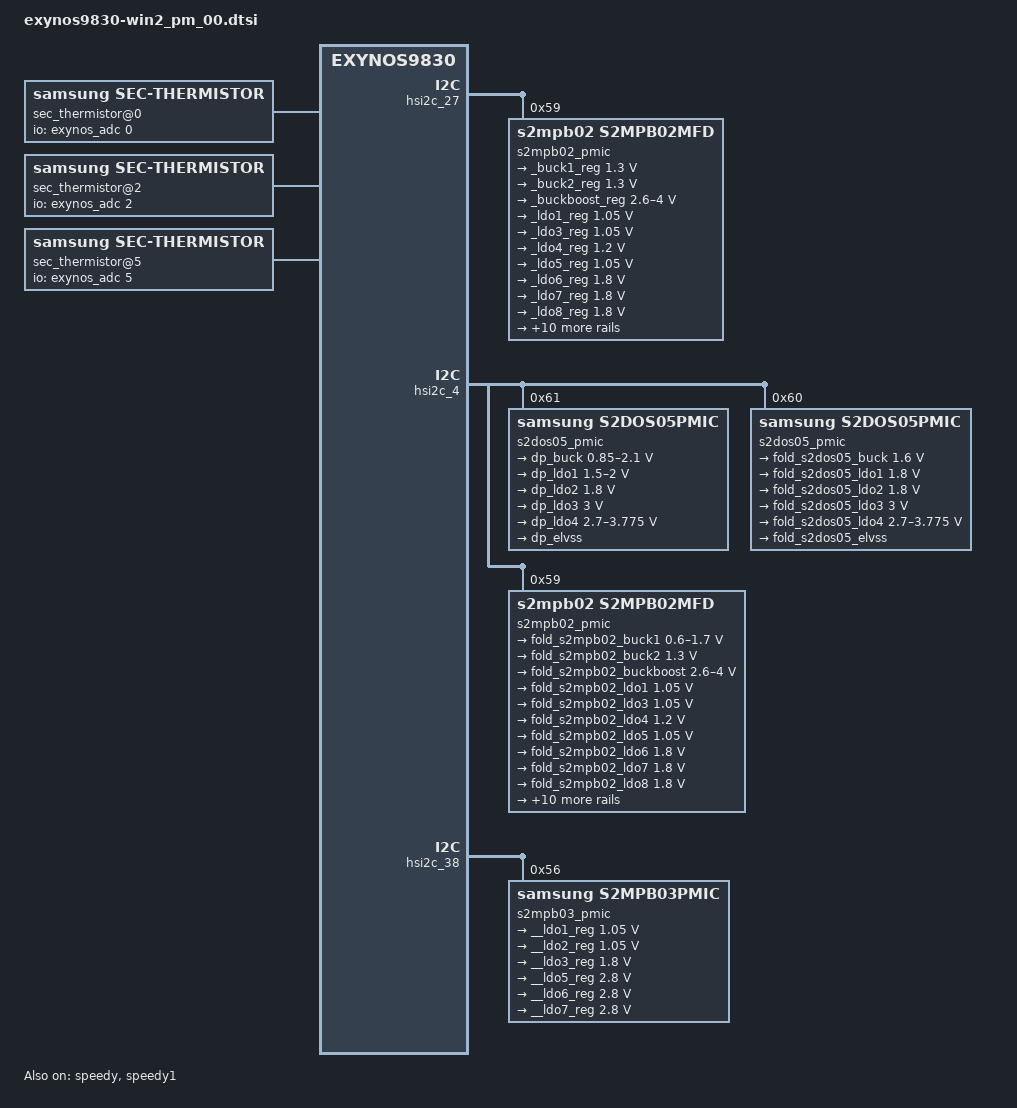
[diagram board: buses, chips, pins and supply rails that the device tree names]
/*
 * SAMSUNG EXYNOS9830 power management device tree source
 *
 * Copyright (c) 2019 Samsung Electronics Co., Ltd.
 *		http://www.samsung.com
 *
 * This program is free software; you can redistribute it and/or modify
 * it under the terms of the GNU General Public License version 2 as
 * published by the Free Software Foundation.
*/

&pinctrl_0 {
	m_pmic_irq: m-pmic-irq {
		samsung,pins = "gpa0-1";
		samsung,pin-pud = <3>;
		samsung,pin-drv = <3>;
	};

	s_pmic_irq: s-pmic-irq {
		samsung,pins = "gpa2-5";
		samsung,pin-pud = <3>;
		samsung,pin-drv = <3>;
	};

	dp_pmic_irq: dp-pmic-irq {
		samsung,pins = "gpa1-4";
		samsung,pin-function = <0>;
		samsung,pin-pud = <0>;
		samsung,pin-drv = <0>;
	};
};

&pinctrl_1 {
	fold_sub_dp_pm_int: fold-sub-dp-pm-int {
		samsung,pins = "gpm16-0";
		samsung,pin-function = <0>;
		samsung,pin-pud = <0>;
		samsung,pin-drv = <0>;
	};
};

&pinctrl_5 {
	sub_pmic_irq: sub-pmic-irq {
		samsung,pins = "gpg1-2";
		samsung,pin-function = <0>;
		samsung,pin-pud = <0>;
		samsung,pin-con-pdn = <2>;
		samsung,pin-pud-pdn = <0>;
	};
};

&pinctrl_4 {
	smpl_warn: smpl-warn {
		samsung,pins = "gpg0-1";
		samsung,pin-function = <15>;
		samsung,pin-pud = <0>;
		samsung,pin-drv = <0>;
		samsung,pin-con-pdn = <2>;
		samsung,pin-pud-pdn = <0>;
	};
};

&speedy {
	#address-cells = <1>;
	#size-cells = <0>;
	status = "okay";
	s2mps19mfd@00 {
		compatible = "samsung,s2mps19mfd";
		acpm-ipc-channel = <2>;
		acpm-speedy-channel = <0>;
		i2c-speedy-address;
		s2mps19,wakeup = "enabled";
		s2mps19,irq-gpio = <&gpa0 1 0>;
		reg = <0x00>;
		interrupts = <1 0 0>;
		interrupt-parent = <&gpa0>;
		pinctrl-names = "default";
		pinctrl-0 = <&m_pmic_irq &smpl_warn>;
		gpios = <&gpg0 1 0>;
		smpl_warn_en = <1>; /* 1 : enable , 0 : disable */
		/* range of smpl_warn_vth */
		/* 0x00 : 2.1V, 0x20 : 2.3V, 0x40 : 2.5V, 0x60 : 2.7V 0x80 : 2.9V */
		/* 0xA0 : 3.1V, 0xC0 : 3.3V, 0xE0 : 3.5V */
		smpl_warn_vth = <0xA0>;
		/* LowBat_Hys[4:3] 00(100mV), 01(200mV), 10(300mV), 11(400mV) */
		smpl_warn_hys = <0x00>;
		ocp_warn1_en = <1>; /* 1 : enable, 0 : disable */
		ocp_warn1_cnt = <0>; /* ocp warn reset timing control, 0 : 2 clock, 1 : 32 clock */
		ocp_warn1_dvs_mask = <0>; /* ocp warn mask when dvs, 0 : not masked, 1 : masked  */
		ocp_warn1_lv = <0x0>; /* step : -250mA */
		ocp_warn2_en = <0>; /* 1 : enable, 0 : disable */
		ocp_warn2_cnt = <0>; /* ocp warn reset timing control, 0 : 2 clock, 1 : 32 clock */
		ocp_warn2_dvs_mask = <0>; /* ocp warn mask when dvs, 0 : not masked, 1 : masked  */
		ocp_warn2_lv = <0x0>; /* step : -250mA */
		adc_mode = <1>; /* 0 : disable, 1 : current meter, 2 : power meter */
		adc_sync_mode = <2>; /* 1 : sync mode, 2 : async mode */
		/* RTC: wtsr/smpl */
		wtsr_en = "enabled"; /* enable */
		smpl_en = "enabled"; /* enable */
		wtsr_timer_val = <3>;	/* 1000ms */
		smpl_timer_val = <2>;	/* 300ms */
		sub_smpl_en = "enabled"; /* enable */
		check_jigon = <0>; /* do not check jigon */
		/* RTC: If it's first boot, reset rtc to 1/1/2020 12:00:00(Wed) */
		init_time,sec = <0>;
		init_time,min = <0>;
		init_time,hour = <12>;
		init_time,mday = <1>;
		init_time,mon = <0>;
		init_time,year = <120>;
		init_time,wday = <3>;

		regulators {
			buck1_reg: BUCK1M {
				regulator-name = "m_vdd_buck1";
				regulator-min-microvolt = <450000>;
				regulator-max-microvolt = <1100000>;
				regulator-always-on;
				regulator-ramp-delay = <6000>;
				regulator-initial-mode = <2>;
			};

			buck2_reg: BUCK2M {
				regulator-name = "m_vdd_buck2";
				regulator-min-microvolt = <450000>;
				regulator-max-microvolt = <1300000>;
				regulator-always-on;
				regulator-ramp-delay = <6000>;
				regulator-initial-mode = <2>;
			};

			buck3_reg: BUCK3M {
				regulator-name = "m_vdd_buck3";
				regulator-min-microvolt = <450000>;
				regulator-max-microvolt = <1300000>;
				regulator-always-on;
				regulator-ramp-delay = <6000>;
				regulator-initial-mode = <2>;
			};

			buck5_reg: BUCK5M {
				regulator-name = "m_vdd_buck5";
				regulator-min-microvolt = <450000>;
				regulator-max-microvolt = <1100000>;
				regulator-always-on;
				regulator-ramp-delay = <6000>;
				regulator-initial-mode = <2>;
			};

			buck6_reg: BUCK6M {
				regulator-name = "m_vdd_buck6";
				regulator-min-microvolt = <450000>;
				regulator-max-microvolt = <1100000>;
				regulator-always-on;
				regulator-ramp-delay = <6000>;
				regulator-initial-mode = <1>;
			};

			buck7_reg: BUCK7M {
				regulator-name = "m_vdd_buck7";
				regulator-min-microvolt = <450000>;
				regulator-max-microvolt = <1300000>;
				regulator-always-on;
				regulator-ramp-delay = <6000>;
				regulator-initial-mode = <2>;
			};

			buck8_reg: BUCK8M {
				regulator-name = "m_vdd_buck8";
				regulator-min-microvolt = <450000>;
				regulator-max-microvolt = <950000>;
				regulator-always-on;
				regulator-ramp-delay = <6000>;
				regulator-initial-mode = <2>;
			};

			buck9_reg: BUCK9M {
				regulator-name = "m_vdd_buck9";
				regulator-min-microvolt = <800000>;
				regulator-max-microvolt = <1300000>;
				regulator-always-on;
				regulator-ramp-delay = <6000>;
				regulator-initial-mode = <3>;
			};

			buck10_reg: BUCK10M {
				regulator-name = "m_vdd_buck10";
				regulator-min-microvolt = <800000>;
				regulator-max-microvolt = <1300000>;
				regulator-always-on;
				regulator-ramp-delay = <6000>;
				regulator-initial-mode = <3>;
			};

			buck11_reg: BUCK11M {
				regulator-name = "m_vdd_buck11";
				regulator-min-microvolt = <1100000>;
				regulator-max-microvolt = <1500000>;
				regulator-always-on;
				regulator-ramp-delay = <6000>;
				regulator-initial-mode = <3>;
			};

			buck12_reg: BUCK12M {
				regulator-name = "m_vdd_buck12";
				regulator-min-microvolt = <1750000>;
				regulator-max-microvolt = <2150000>;
				regulator-always-on;
				regulator-ramp-delay = <6000>;
				regulator-initial-mode = <3>;
			};

			ldo1_reg: LDO1M {
				regulator-name = "m_vdd_ldo1";
				regulator-min-microvolt = <700000>;
				regulator-max-microvolt = <950000>;
				regulator-always-on;
				regulator-ramp-delay = <12000>;
				regulator-initial-mode = <3>;
			};

			ldo2_reg: LDO2M {
				regulator-name = "vqmmc";
				regulator-min-microvolt = <1800000>;
				regulator-max-microvolt = <2950000>;
				regulator-ramp-delay = <12000>;
				regulator-initial-mode = <0>;
			};

			ldo3_reg: LDO3M {
				regulator-name = "m_vdd_ldo3";
				regulator-min-microvolt = <700000>;
				regulator-max-microvolt = <1100000>;
				regulator-always-on;
				regulator-ramp-delay = <12000>;
				regulator-initial-mode = <1>;
			};

			ldo4_reg: LDO4M {
				regulator-name = "m_vdd_ldo4";
				regulator-min-microvolt = <1600000>;
				regulator-max-microvolt = <1950000>;
				regulator-always-on;
				regulator-ramp-delay = <12000>;
				regulator-initial-mode = <1>;
			};

			ldo5_reg: LDO5M {
				regulator-name = "m_vdd_ldo5";
				regulator-min-microvolt = <450000>;
				regulator-max-microvolt = <1100000>;
				regulator-always-on;
				regulator-ramp-delay = <12000>;
				regulator-initial-mode = <1>;
			};

			ldo6_reg: LDO6M {
				regulator-name = "m_vdd_ldo6";
				regulator-min-microvolt = <450000>;
				regulator-max-microvolt = <950000>;
				regulator-always-on;
				regulator-ramp-delay = <12000>;
				regulator-initial-mode = <1>;
			};

			ldo9_reg: LDO9M {
				regulator-name = "m_vdd_ldo9";
				regulator-min-microvolt = <700000>;
				regulator-max-microvolt = <1300000>;
				regulator-always-on;
				regulator-ramp-delay = <12000>;
				regulator-initial-mode = <1>;
			};

			ldo10_reg: LDO10M {
				regulator-name = "m_vdd_ldo10";
				regulator-min-microvolt = <700000>;
				regulator-max-microvolt = <1100000>;
				regulator-boot-on;
				regulator-ramp-delay = <12000>;
				regulator-initial-mode = <3>;
			};

			ldo11_reg: LDO11M {
				regulator-name = "m_vdd_ldo11";
				regulator-min-microvolt = <1600000>;
				regulator-max-microvolt = <1950000>;
				regulator-boot-on;
				regulator-ramp-delay = <12000>;
				regulator-initial-mode = <3>;
			};

			ldo12_reg: LDO12M {
				regulator-name = "m_vdd_ldo12";
				regulator-min-microvolt = <1700000>;
				regulator-max-microvolt = <3350000>;
				regulator-boot-on;
				regulator-ramp-delay = <12000>;
				regulator-initial-mode = <3>;
			};

			ldo13_reg: LDO13M {
				regulator-name = "m_vdd_ldo13";
				regulator-min-microvolt = <1800000>;
				regulator-max-microvolt = <3350000>;
				regulator-boot-on;
				regulator-ramp-delay = <12000>;
				regulator-initial-mode = <1>;
			};

			ldo14_reg: LDO14M {
				regulator-name = "m_vdd_ldo14";
				regulator-min-microvolt = <1800000>;
				regulator-max-microvolt = <3350000>;
				regulator-boot-on;
				regulator-ramp-delay = <12000>;
				regulator-initial-mode = <1>;
			};

			ldo15_reg: LDO15M {
				regulator-name = "vmmc";
				regulator-min-microvolt = <2950000>;
				regulator-max-microvolt = <2950000>;
				regulator-ramp-delay = <12000>;
				regulator-initial-mode = <0>;
			};

			ldo16_reg: LDO16M {
				regulator-name = "m_vdd_ldo16";
				regulator-min-microvolt = <2500000>;
				regulator-max-microvolt = <3300000>;
				regulator-always-on;
				regulator-ramp-delay = <12000>;
				regulator-initial-mode = <3>;
			};

			ldo18_reg: LDO18M {
				regulator-name = "m_vdd_ldo18";
				regulator-min-microvolt = <700000>;
				regulator-max-microvolt = <1300000>;
				regulator-always-on;
				regulator-ramp-delay = <12000>;
				regulator-initial-mode = <3>;
			};

			ldo19_reg: LDO19M {
				regulator-name = "VDD_BTP_1P8";
				regulator-min-microvolt = <1800000>;
				regulator-max-microvolt = <1800000>;
				regulator-ramp-delay = <12000>;
				regulator-initial-mode = <2>;
			};

			ldo21_reg: LDO21M {
				regulator-name = "vdd_mcu_1p8";
				regulator-min-microvolt = <1800000>;
				regulator-max-microvolt = <1800000>;
				regulator-always-on;
				regulator-ramp-delay = <12000>;
				regulator-initial-mode = <3>;
			};

			ldo22_reg: LDO22M {
				regulator-name = "VDD_NFC_1P8";
				regulator-min-microvolt = <1800000>;
				regulator-max-microvolt = <1800000>;
				regulator-ramp-delay = <12000>;
				regulator-initial-mode = <2>;
			};

			ldo24_reg: LDO24M {
				regulator-name = "VDD_GRIP_3P0";
				regulator-min-microvolt = <3000000>;
				regulator-max-microvolt = <3000000>;
				regulator-ramp-delay = <12000>;
				regulator-always-on;
				regulator-initial-mode = <3>;
				regulator-boot-on;
			};

			ldo25_reg: LDO25M {
				regulator-name = "VDD_FLICKER_1P8";
				regulator-min-microvolt = <1600000>;
				regulator-max-microvolt = <2200000>;
				regulator-ramp-delay = <12000>;
				regulator-initial-mode = <3>;
			};

			ldo26_reg: LDO26M {
				regulator-name = "m_vdd_ldo26";
				regulator-min-microvolt = <1800000>;
				regulator-max-microvolt = <2200000>;
				regulator-ramp-delay = <12000>;
				regulator-initial-mode = <3>;
			};

			ldo28_reg: LDO28M {
				regulator-name = "VDD_ESE_1P8";
				regulator-min-microvolt = <1800000>;
				regulator-max-microvolt = <1800000>;
				regulator-always-on;
				regulator-ramp-delay = <12000>;
				regulator-initial-mode = <3>;
			};
		};
	};
};

&speedy1 {
	#address-cells = <1>;
	#size-cells = <0>;
	status = "okay";
	s2mps22mfd@00 {
		compatible = "samsung,s2mps22mfd";
		acpm-ipc-channel = <2>;
		acpm-speedy-channel = <1>;
		i2c-speedy-address;
		s2mps22,wakeup = "enabled";
		s2mps22,irq-gpio = <&gpa2 5 0>;
		reg = <0x00>;
		interrupts = <1 0 0>;
		interrupt-parent = <&gpa2>;
		pinctrl-names = "default";
		pinctrl-0 = <&s_pmic_irq>;
		adc_mode = <1>; /* 0 : disable, 1 : current meter, 2 : power meter */
		adc_sync_mode = <2>; /* 1 : sync mode, 2 : async mode */
		wtsr_en = <1>; /* 0 : disable, 1 : enable */

		regulators {
			s_buck1_reg: BUCK1S {
				regulator-name = "s_vdd_buck1";
				regulator-min-microvolt = <450000>;
				regulator-max-microvolt = <950000>;
				regulator-always-on;
				regulator-ramp-delay = <6000>;
				regulator-initial-mode = <1>;
			};

			s_buck2_reg: BUCK2S {
				regulator-name = "s_vdd_buck2";
				regulator-min-microvolt = <450000>;
				regulator-max-microvolt = <1100000>;
				regulator-always-on;
				regulator-ramp-delay = <6000>;
				regulator-initial-mode = <1>;
			};

			s_buck3_reg: BUCK3S {
				regulator-name = "s_vdd_buck3";
				regulator-min-microvolt = <450000>;
				regulator-max-microvolt = <1300000>;
				regulator-always-on;
				regulator-ramp-delay = <6000>;
				regulator-initial-mode = <1>;
			};

			s_buck4_reg: BUCK4S {
				regulator-name = "s_vdd_buck4";
				regulator-min-microvolt = <900000>;
				regulator-max-microvolt = <1300000>;
				regulator-always-on;
				regulator-ramp-delay = <6000>;
				regulator-initial-mode = <3>;
			};

			s_ldo1_reg: LDO1S {
				regulator-name = "s_vdd_ldo1";
				regulator-min-microvolt = <450000>;
				regulator-max-microvolt = <950000>;
				regulator-always-on;
				regulator-ramp-delay = <12000>;
				regulator-initial-mode = <1>;
			};

			s_ldo2_reg: LDO2S {
				regulator-name = "s_vdd_ldo2";
				regulator-min-microvolt = <450000>;
				regulator-max-microvolt = <950000>;
				regulator-always-on;
				regulator-ramp-delay = <12000>;
				regulator-initial-mode = <1>;
			};

			s_ldo3_reg: LDO3S {
				regulator-name = "s_vdd_ldo3";
				regulator-min-microvolt = <450000>;
				regulator-max-microvolt = <1300000>;
				regulator-always-on;
				regulator-ramp-delay = <12000>;
				regulator-initial-mode = <1>;
			};

			s_ldo4_reg: LDO4S {
				regulator-name = "s_vdd_ldo4";
				regulator-min-microvolt = <1600000>;
				regulator-max-microvolt = <1950000>;
				regulator-always-on;
				regulator-ramp-delay = <12000>;
				regulator-initial-mode = <3>;
			};

			s_ldo5_reg: LDO5S {
				regulator-name = "s_vdd_ldo5";
				regulator-min-microvolt = <700000>;
				regulator-max-microvolt = <1100000>;
				regulator-ramp-delay = <12000>;
				regulator-initial-mode = <1>;
			};

			s_ldo6_reg: LDO6S {
				regulator-name = "s_vdd_ldo6";
				regulator-min-microvolt = <1600000>;
				regulator-max-microvolt = <1950000>;
				regulator-ramp-delay = <12000>;
				regulator-initial-mode = <1>;
			};
		};
	};
};

&hsi2c_27 {
	#address-cells = <1>;
	#size-cells = <0>;
	status = "okay";
	s2mpb02_pmic@59 {
		compatible = "s2mpb02,s2mpb02mfd";
		reg = <0x59>;

		s2mpb02,wakeup;
		pinctrl-names = "default";
		pinctrl-0 = <&sub_pmic_irq>;

		regulators {
			_buck1_reg: s2mpb02-buck1 {
				regulator-name = "S2MPB02_BUCK1";
				regulator-min-microvolt = <1300000>;
				regulator-max-microvolt = <1300000>;
				regulator-always-on;
				regulator-boot-on;
			};

			_buck2_reg: s2mpb02-buck2 {
				regulator-name = "S2MPB02_BUCK2";
				regulator-min-microvolt = <1300000>;
				regulator-max-microvolt = <1300000>;
				regulator-always-on;
				regulator-boot-on;
			};

			_buckboost_reg: s2mpb02-bb {
				regulator-name = "S2MPB02_BB";
				regulator-min-microvolt = <2600000>;
				regulator-max-microvolt = <4000000>;
				regulator-always-on;
				regulator-boot-on;
			};

			_ldo1_reg: s2mpb02-ldo1 {
				regulator-name = "VDDPHY_1.05V_CAM";
				regulator-min-microvolt = <1050000>;
				regulator-max-microvolt = <1050000>;
			};

			_ldo3_reg: s2mpb02-ldo3 {
				regulator-name = "VDDD_1.05V_WIDESUB";
				regulator-min-microvolt = <1050000>;
				regulator-max-microvolt = <1050000>;
			};

			_ldo4_reg: s2mpb02-ldo4 {
				regulator-name = "VDDD_1.2V_TOF";
				regulator-min-microvolt = <1200000>;
				regulator-max-microvolt = <1200000>;
			};

			_ldo5_reg: s2mpb02-ldo5 {
				regulator-name = "VDDD_1.05V_VT";
				regulator-min-microvolt = <1050000>;
				regulator-max-microvolt = <1050000>;
			};

			_ldo6_reg: s2mpb02-ldo6 {
				regulator-name = "VDDIO_1.8V_VT";
				regulator-min-microvolt = <1800000>;
				regulator-max-microvolt = <1800000>;
			};

			_ldo7_reg: s2mpb02-ldo7 {
				regulator-name = "VDDIO_1.8V_SUB";
				regulator-min-microvolt = <1800000>;
				regulator-max-microvolt = <1800000>;
			};

			_ldo8_reg: s2mpb02-ldo8 {
				regulator-name = "VDDIO_1.8V_WIDESUB";
				regulator-min-microvolt = <1800000>;
				regulator-max-microvolt = <1800000>;
			};

			_ldo9_reg: s2mpb02-ldo9 {
				regulator-name = "VDDIO_1.8V_TOF";
				regulator-min-microvolt = <1800000>;
				regulator-max-microvolt = <1800000>;
			};

			_ldo10_reg: s2mpb02-ldo10 {
				regulator-name = "VDDD_1.8V_OIS";
				regulator-min-microvolt = <1800000>;
				regulator-max-microvolt = <1800000>;
			};

			_ldo11_reg: s2mpb02-ldo11 {
				regulator-name = "VDDA_2.95V_VT";
				regulator-min-microvolt = <2950000>;
				regulator-max-microvolt = <2950000>;
			};

			_ldo12_reg: s2mpb02-ldo12 {
				regulator-name = "VDDA_2.8V_WIDESUB";
				regulator-min-microvolt = <2800000>;
				regulator-max-microvolt = <2800000>;
			};

			_ldo13_reg: s2mpb02-ldo13 {
				regulator-name = "VDDAF_2.8V_SUB";
				regulator-min-microvolt = <2800000>;
				regulator-max-microvolt = <2800000>;
			};

			_ldo14_reg: s2mpb02-ldo14 {
				regulator-name = "VDDAF_COMMON_CAM";
				regulator-min-microvolt = <3300000>;
				regulator-max-microvolt = <3300000>;
			};

			_ldo15_reg: s2mpb02-ldo15 {
				regulator-name = "VDDD_3.3V_TOF";
				regulator-min-microvolt = <3300000>;
				regulator-max-microvolt = <3300000>;
			};

			_ldo16_reg: s2mpb02-ldo16 {
				regulator-name = "VDDAF_2.8V_VT";
				regulator-min-microvolt = <2800000>;
				regulator-max-microvolt = <2800000>;
			};

			_ldo17_reg: s2mpb02-ldo17 {
				regulator-name = "VDDA_2.7V_TOF";
				regulator-min-microvolt = <2700000>;
				regulator-max-microvolt = <2700000>;
			};

			_ldo18_reg: s2mpb02-ldo18 {
				regulator-name = "S2MPB02_LDO18";
				regulator-min-microvolt = <3300000>;
				regulator-max-microvolt = <3300000>;
				regulator-always-on;
				regulator-boot-on;
			};
		};

		torch {
			torch1-gpio = <&gpp4 4 0x1>;
			flash1-gpio = <&gpp4 0 0x1>;

			status = "okay";

			leds1 {
				ledname = "leds-sec1";
				id = <0>;
				brightness = <0xE>; /* adaptive Nx100+50 : 1450mA */
				timeout = <0x7>; /* (N+1)x62.5 : 500ms */
				torch_table_enable = <0>;
			};

			leds2 {
				ledname = "torch-sec1";
				id = <1>;
				brightness = <0xE>; /* Nx20 = 280mA */
				timeout = <0xF>;
				torch_table_enable = <1>;
				torch_table = <3 5 5 7 7 8 8 8 10 10>;
				/* 60mA 100mA 140mA 160mA 200mA */
			};
		};
	};
};

&hsi2c_4 {
	#address-cells = <1>;
	#size-cells = <0>;
	status = "okay";
	s2dos05_pmic@61 {
		compatible = "samsung,s2dos05pmic";
		reg = <0x61>;
		s2dos05,wakeup;
		pinctrl-names = "default";
		pinctrl-0 = <&dp_pmic_irq>;
		s2dos05,s2dos05_int = <&gpa1 4 0>;
		adc_mode = <2>; /* 0 : disable, 1 : current meter, 2 : power meter */
		adc_sync_mode = <2>; /* 1 : sync mode, 2 : async mode */
		regulators {
			dp_buck: s2dos05-buck1 {
				regulator-name = "vdd1";
				regulator-min-microvolt = <850000>;
				regulator-max-microvolt = <2100000>;
				regulator-boot-on;
			};

			dp_ldo1: s2dos05-ldo1 {
				regulator-name = "vdd2";
				regulator-min-microvolt = <1500000>;
				regulator-max-microvolt = <2000000>;
				regulator-boot-on;
			};

			dp_ldo2: s2dos05-ldo2 {
				regulator-name = "tsp_io";
				regulator-min-microvolt = <1800000>;
				regulator-max-microvolt = <1800000>;
				regulator-boot-on;
			};

			dp_ldo3: s2dos05-ldo3 {
				regulator-name = "tsp_avdd";
				regulator-min-microvolt = <3000000>;
				regulator-max-microvolt = <3000000>;
				regulator-boot-on;
			};

			dp_ldo4: s2dos05-ldo4 {
				regulator-name = "vdd5";
				regulator-min-microvolt = <2700000>;
				regulator-max-microvolt = <3775000>;
				regulator-boot-on;
			};

			dp_elvss: s2dos05-elvss {
				regulator-name = "elvss";
			};
		};
	};

	s2dos05_pmic@60 {
		compatible = "samsung,s2dos05pmic";
		reg = <0x60>;
		s2dos05,wakeup;
		pinctrl-names = "default";
		pinctrl-0 = <&fold_sub_dp_pm_int>;
		s2dos05,s2dos05_int = <&gpm16 0 0>;
		adc_mode = <2>; /* 0 : disable, 1 : current meter, 2 : power meter */
		adc_sync_mode = <2>; /* 1 : sync mode, 2 : async mode */
		sec_disp_pmic_name = "fold_disp_pmic";
		regulators {
			fold_s2dos05_buck: s2dos05-buck1 {
				regulator-name = "fold-s2dos05-buck1";
				regulator-min-microvolt = <1600000>;
				regulator-max-microvolt = <1600000>;
			};

			fold_s2dos05_ldo1: s2dos05-ldo1 {
				regulator-name = "fold-s2dos05-ldo1";
				regulator-min-microvolt = <1800000>;
				regulator-max-microvolt = <1800000>;
			};

			fold_s2dos05_ldo2: s2dos05-ldo2 {
				regulator-name = "sub_tsp_io";
				regulator-min-microvolt = <1800000>;
				regulator-max-microvolt = <1800000>;
				regulator-boot-on;
			};

			fold_s2dos05_ldo3: s2dos05-ldo3{
				regulator-name = "sub_tsp_avdd";
				regulator-min-microvolt = <3000000>;
				regulator-max-microvolt = <3000000>;
				regulator-boot-on;
			};

			fold_s2dos05_ldo4: s2dos05-ldo4{
				regulator-name = "fold-s2dos05-ldo4";
				regulator-min-microvolt = <2700000>;
				regulator-max-microvolt = <3775000>;
			};

			fold_s2dos05_elvss: s2dos05-elvss{
				regulator-name = "fold-s2dos05-elvss";
			};
		};
	};

	s2mpb02_pmic@59 {
		compatible = "s2mpb02,s2mpb02mfd";
		reg = <0x59>;

		regulators {
			fold_s2mpb02_buck1: s2mpb02-buck1 {
				regulator-name = "FOLD_S2MPB02_BUCK1";
				regulator-min-microvolt = <600000>;
				regulator-max-microvolt = <1700000>;
				regulator-always-on;
				regulator-boot-on;
			};

			fold_s2mpb02_buck2: s2mpb02-buck2 {
				regulator-name = "FOLD_S2MPB02_BUCK2";
				regulator-min-microvolt = <1300000>;
				regulator-max-microvolt = <1300000>;
				regulator-always-on;
				regulator-boot-on;
			};

			fold_s2mpb02_buckboost: s2mpb02-bb {
				regulator-name = "FOLD_S2MPB02_BB";
				regulator-min-microvolt = <2600000>;
				regulator-max-microvolt = <4000000>;
				regulator-always-on;
				regulator-boot-on;
			};

			fold_s2mpb02_ldo1: s2mpb02-ldo1 {
				regulator-name = "FOLD_S2MPB02_LDO1";
				regulator-min-microvolt = <1050000>;
				regulator-max-microvolt = <1050000>;
			};

			fold_s2mpb02_ldo3: s2mpb02-ldo3 {
				regulator-name = "FOLD_S2MPB02_LDO3";
				regulator-min-microvolt = <1050000>;
				regulator-max-microvolt = <1050000>;
			};

			fold_s2mpb02_ldo4: s2mpb02-ldo4 {
				regulator-name = "FOLD_S2MPB02_LDO4";
				regulator-min-microvolt = <1200000>;
				regulator-max-microvolt = <1200000>;
			};

			fold_s2mpb02_ldo5: s2mpb02-ldo5 {
				regulator-name = "FOLD_S2MPB02_LDO5";
				regulator-min-microvolt = <1050000>;
				regulator-max-microvolt = <1050000>;
			};

			fold_s2mpb02_ldo6: s2mpb02-ldo6 {
				regulator-name = "FOLD_S2MPB02_LDO6";
				regulator-min-microvolt = <1800000>;
				regulator-max-microvolt = <1800000>;
			};

			fold_s2mpb02_ldo7: s2mpb02-ldo7 {
				regulator-name = "FOLD_S2MPB02_LDO7";
				regulator-min-microvolt = <1800000>;
				regulator-max-microvolt = <1800000>;
			};

			fold_s2mpb02_ldo8: s2mpb02-ldo8 {
				regulator-name = "FOLD_S2MPB02_LDO8";
				regulator-min-microvolt = <1800000>;
				regulator-max-microvolt = <1800000>;
			};

			fold_s2mpb02_ldo9: s2mpb02-ldo9 {
				regulator-name = "FOLD_S2MPB02_LDO9";
				regulator-min-microvolt = <1800000>;
				regulator-max-microvolt = <1800000>;
			};

			fold_s2mpb02_ldo10: s2mpb02-ldo10 {
				regulator-name = "FOLD_S2MPB02_LDO10";
				regulator-min-microvolt = <1800000>;
				regulator-max-microvolt = <1800000>;
			};

			fold_s2mpb02_ldo11: s2mpb02-ldo11 {
				regulator-name = "FOLD_S2MPB02_LDO11";
				regulator-min-microvolt = <2950000>;
				regulator-max-microvolt = <2950000>;
			};

			fold_s2mpb02_ldo12: s2mpb02-ldo12 {
				regulator-name = "FOLD_S2MPB02_LDO12";
				regulator-min-microvolt = <2800000>;
				regulator-max-microvolt = <2800000>;
			};

			fold_s2mpb02_ldo13: s2mpb02-ldo13 {
				regulator-name = "FOLD_S2MPB02_LDO13";
				regulator-min-microvolt = <2800000>;
				regulator-max-microvolt = <2800000>;
			};

			fold_s2mpb02_ldo14: s2mpb02-ldo14 {
				regulator-name = "FOLD_S2MPB02_LDO14";
				regulator-min-microvolt = <3300000>;
				regulator-max-microvolt = <3300000>;
			};

			fold_s2mpb02_ldo15: s2mpb02-ldo15 {
				regulator-name = "FOLD_S2MPB02_LDO15";
				regulator-min-microvolt = <3300000>;
				regulator-max-microvolt = <3300000>;
			};

			fold_s2mpb02_ldo16: s2mpb02-ldo16 {
				regulator-name = "FOLD_S2MPB02_LDO16";
				regulator-min-microvolt = <2800000>;
				regulator-max-microvolt = <2800000>;
			};

			fold_s2mpb02_ldo17: s2mpb02-ldo17 {
				regulator-name = "FOLD_S2MPB02_LDO17";
				regulator-min-microvolt = <2700000>;
				regulator-max-microvolt = <2700000>;
			};

			fold_s2mpb02_ldo18: s2mpb02-ldo18 {
				regulator-name = "FOLD_S2MPB02_LDO18";
				regulator-min-microvolt = <3300000>;
				regulator-max-microvolt = <3300000>;
			};
		};
	};
};

&hsi2c_38 {
	#address-cells = <1>;
	#size-cells = <0>;
	status = "okay";
	s2mpb03_pmic@56 {
		compatible = "samsung,s2mpb03pmic";
		reg = <0x56>;

		s2mpb03,wakeup;

		regulators {
			__ldo1_reg: s2mpb03-ldo1 {
				regulator-name = "VDDD_1.05V_SUB";
				regulator-min-microvolt = <1050000>;
				regulator-max-microvolt = <1050000>;
			};

			__ldo2_reg: s2mpb03-ldo2 {
				regulator-name = "VDDD_1.05V_CAM";
				regulator-min-microvolt = <1050000>;
				regulator-max-microvolt = <1050000>;
			};

			__ldo3_reg: s2mpb03-ldo3 {
				regulator-name = "VDDIO_1.8V_CAM";
				regulator-min-microvolt = <1800000>;
				regulator-max-microvolt = <1800000>;
			};

			__ldo5_reg: s2mpb03-ldo5 {
				regulator-name = "VDDA_2.8V_CAM";
				regulator-min-microvolt = <2800000>;
				regulator-max-microvolt = <2800000>;
			};

			__ldo6_reg: s2mpb03-ldo6 {
				regulator-name = "VDDA_2.8V_SUB";
				regulator-min-microvolt = <2800000>;
				regulator-max-microvolt = <2800000>;
			};

			__ldo7_reg: s2mpb03-ldo7 {
				regulator-name = "VDD_VM_2.8V_OIS";
				regulator-min-microvolt = <2800000>;
				regulator-max-microvolt = <2800000>;
			};
		};
	};
};

/ {

	fragment@model {
		target-path = "/";
		__overlay__ {
			secgpio_dvs {
				compatible = "samsung,exynos9830-secgpio-dvs";
				status = "okay";
			};

			sec_pm_debug {
				compatible = "samsung,sec-pm-debug";
				status = "okay";
			};

			sec_thermistor@0 {
				compatible = "samsung,sec-thermistor";
				status = "okay";
				thermistor_name = "sec-ap-thermistor";
				id = <0>;

				adc_array = <271 321 382 452 532 625 734 864 1003 1173
					  1355 1558 1773 2003 2237 2471 2697 2912 3101 3284
				          3438 3547 3659>;
				temp_array = <900 850 800 750 700 650 600 550 500 450
					  400 350 300 250 200 150 100 50 0 (-50)
					  (-100) (-150) (-200)>;

				io-channels = <&exynos_adc 0>;
				io-channel-names = "adc-ap-temp";
				io-channel-ranges;
			};

			sec_thermistor@2 {
				compatible = "samsung,sec-thermistor";
				status = "okay";
				thermistor_name = "sec-wf-thermistor";
				id = <1>;

				adc_array = <282 333 396 466 548 643 753 882 1026 1194
					  1377 1580 1797 2025 2258 2490 2719 2931 3128 3299
				          3450 3573 3674>;
				temp_array = <900 850 800 750 700 650 600 550 500 450
					  400 350 300 250 200 150 100 50 0 (-50)
					  (-100) (-150) (-200)>;

				io-channels = <&exynos_adc 2>;
				io-channel-names = "adc-wf-temp";
				io-channel-ranges;
			};

			sec_thermistor@5 {
				compatible = "samsung,sec-thermistor";
				status = "okay";
				thermistor_name = "sec-cp-thermistor";
				id = <2>;

				adc_array = <280 330 393 463 545 640 749 880 1023 1192
					  1375 1578 1796 2024 2258 2492 2719 2927 3128 3303
					  3451 3576 3678>;
				temp_array = <900 850 800 750 700 650 600 550 500 450
					  400 350 300 250 200 150 100 50 0 (-50)
					  (-100) (-150) (-200)>;

				io-channels = <&exynos_adc 5>;
				io-channel-names = "adc-cp-temp";
				io-channel-ranges;
			};
		}; /* end of __overlay__ */
	}; /* end of fragment */
}; /* end of root */
